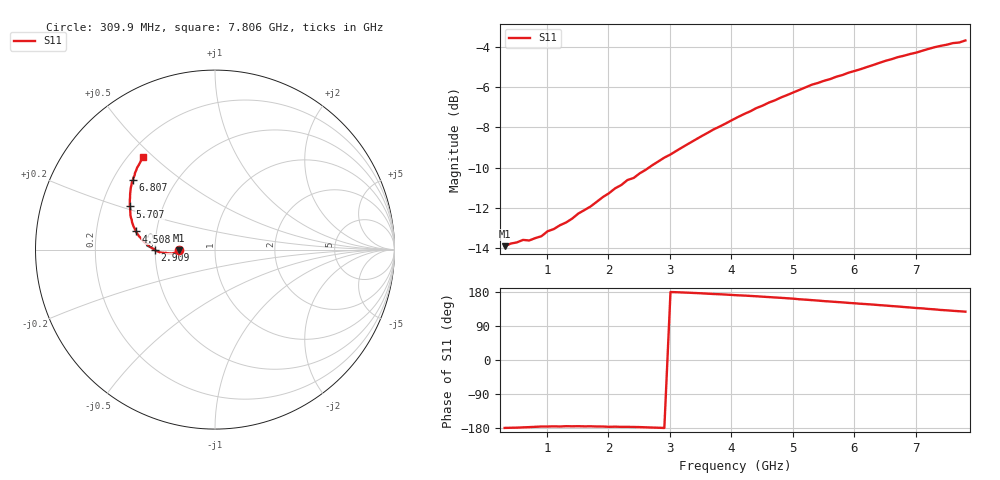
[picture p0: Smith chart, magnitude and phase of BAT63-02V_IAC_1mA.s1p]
! Infineon Technologies  Discrete & RF Semiconductors
! BAT63-02V
! IAC = 1 mA
! One-Port S-Parameters
# Hz  S  MA  R  50
!f  S11
!Hz  Mag  Ang
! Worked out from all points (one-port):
!   76 points, 309.9 MHz to 7.806 GHz, reference 50 ohm
!   lowest |S11| = -13.9 dB at 309.9 MHz (marker M1), VSWR 1.51, Z = 33.2 - j0.187 ohm
!   |S11| at or under -10 dB: start of sweep to 2.654 GHz
!   S11 on the Smith chart (normalised r, x): 309.9 MHz: 0.66, -0.00; 2.909 GHz: 0.50, -0.00; 4.508 GHz: 0.38, +0.10; 5.707 GHz: 0.32, +0.22; 6.807 GHz: 0.28, +0.34; 7.806 GHz: 0.26, +0.47
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3.0985e8  0.2021 -179.2
6.097e8  0.2094 -177.8
7.0965e8  0.2087 -177.1
9.0955e8  0.2139 -175.5
1.0095e9  0.2201 -175.5
1.30935e9  0.2313 -174.7
1.70915e9  0.2535 -175.0
2.10895e9  0.2812 -176.0
2.2089e9  0.2866 -176.5
2.30885e9  0.2948 -176.4
2.4088e9  0.2983 -176.7
2.50875e9  0.3064 -177.1
2.90855e9  0.3351 -179.3
3.0085e9  0.3411 179.4
3.2084e9  0.3559 178.2
3.8081e9  0.4001 173.5
4.10795e9  0.4226 170.7
4.50775e9  0.4509 167.0
5.0075e9  0.4862 161.8
5.30735e9  0.5081 158.0
5.70715e9  0.5318 153.1
6.007e9  0.5497 149.6
6.50675e9  0.5823 143.6
6.8066e9  0.5995 139.8
6.90655e9  0.6054 138.6
7.30635e9  0.6295 133.6
7.4063e9  0.6344 132.0
7.8061e9  0.6542 127.6
